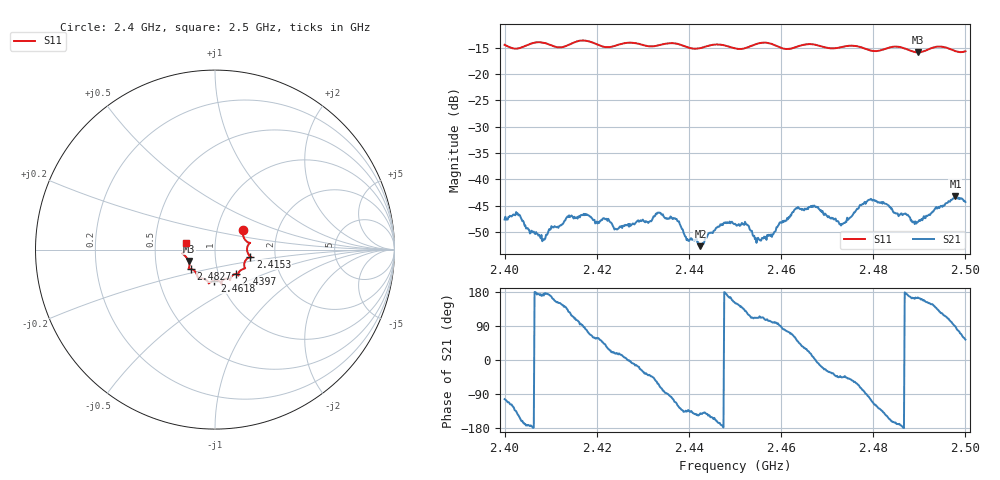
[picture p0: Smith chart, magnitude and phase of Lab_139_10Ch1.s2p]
# Hz S RI R 50
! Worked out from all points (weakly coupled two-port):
!   601 points, 2.4 GHz to 2.5 GHz, reference 50 ohm
!   highest |S21| = -43.20 dB at 2.4978 GHz (marker M1); lowest = -52.6 dB at 2.4425 GHz (marker M2)
!   lowest |S11| = -15.9 dB at 2.4897 GHz (marker M3), VSWR 1.38, Z = 36.9 - j4.81 ohm
!   |S11| at or under -10 dB: start of sweep to end of sweep
!   S12 and S22 are empty: the file has one direction only
!   S11 on the Smith chart (normalised r, x): 2.4 GHz: 1.33, +0.30; 2.4153 GHz: 1.48, -0.12; 2.4397 GHz: 1.21, -0.34; 2.4618 GHz: 0.94, -0.33; 2.4827 GHz: 0.75, -0.17; 2.5 GHz: 0.72, +0.06
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2.4e9  0.1556 0.1069  -0.000962 -0.00407  0 0  0 0
2.403e9  0.1642 0.0592  -0.00378 -0.00256  0 0  0 0
2.408333e9  0.1946 0.0369  -0.00265 0.000299  0 0  0 0
2.415333e9  0.197 -0.0391  -0.00146 0.00404  0 0  0 0
2.416667e9  0.2027 -0.0434  -0.000248 0.00459  0 0  0 0
2.424333e9  0.1632 -0.0911  0.00319 0.00107  0 0  0 0
2.433333e9  0.1298 -0.1338  0.00225 -0.00429  0 0  0 0
2.437333e9  0.1308 -0.1427  -0.00178 -0.00383  0 0  0 0
2.439667e9  0.1167 -0.1359  -0.00192 -0.00193  0 0  0 0
2.4425e9  0.0917 -0.1499  -0.0018 -0.00148  0 0  0 0
2.447333e9  0.0835 -0.1683  -0.00368 -0.000355  0 0  0 0
2.45e9  0.0655 -0.1621  -0.00332 0.00187  0 0  0 0
2.455167e9  0.0366 -0.1916  -0.00101 0.00252  0 0  0 0
2.461833e9  -0.00334 -0.1729  0.0013 0.00416  0 0  0 0
2.466667e9  -0.0349 -0.188  0.00536 0.00112  0 0  0 0
2.473167e9  -0.082 -0.1601  0.00264 -0.00273  0 0  0 0
2.479e9  -0.1031 -0.1336  -0.000716 -0.00636  0 0  0 0
2.482667e9  -0.135 -0.1088  -0.00482 -0.00339  0 0  0 0
2.483333e9  -0.1401 -0.1084  -0.00509 -0.00251  0 0  0 0
2.489667e9  -0.1468 -0.0635  -0.00382 0.00101  0 0  0 0
2.497833e9  -0.1644 0.00244  0.000167 0.00691  0 0  0 0
2.5e9  -0.1593 0.0382  0.0036 0.00495  0 0  0 0
